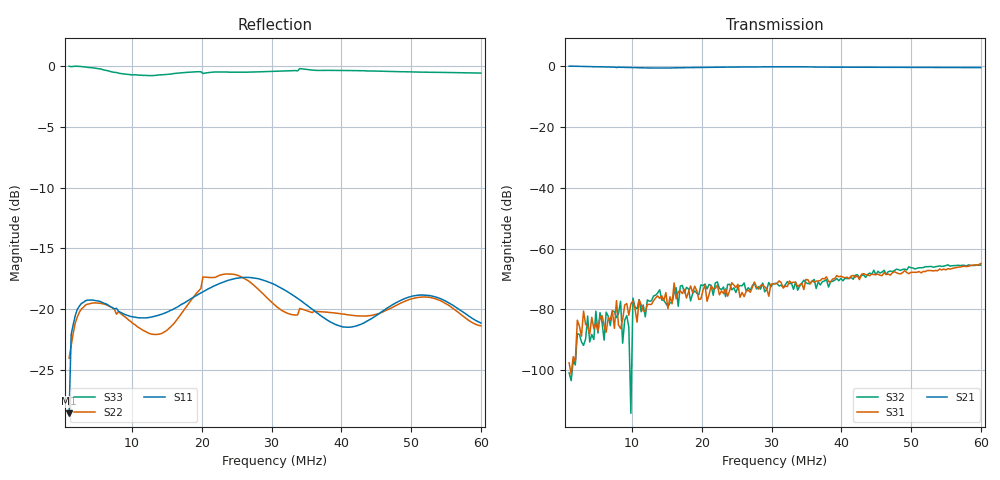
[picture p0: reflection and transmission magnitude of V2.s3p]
#  HZ  S  DB  R  50.00
! Rohde & Schwarz ZVT8 8Ports - Version 4.11 - 1300.0000k08 SN: 100242
! Date: 2024-03-13 13:29:54
! Measurements: S11 S12 S13 S21 S22 S23 S31 S32 S33
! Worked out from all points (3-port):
!   201 points, 1 MHz to 60 MHz, reference 50 ohm
!   strongest paths, dB at 1 MHz, 15.75 MHz, 30.5 MHz, 45.25 MHz, 60 MHz:
!     S21: -0.2, -0.7, -0.4, -0.6, -0.6
!     S31: -97.5, -78.1, -71.6, -68.4, -64.9
!     S32: -100.8, -77.7, -71.4, -67.5, -65.4
!   lowest |S11| = -28.6 dB at 1 MHz (marker M1), VSWR 1.08, Z = 46.7 - j1.39 ohm
!   |S11| at or under -10 dB: start of sweep to end of sweep
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1000000  -28.60 -156.4  -0.05 -12.9  -104.48 84.9
         -0.20 -12.6  -24.05 -164.7  -102.82 51.6
         -97.50 87.9  -100.81 76.1  -0.01 -9.1
7490000  -20.00 31.0  -0.45 -92.3  -86.23 70.1
         -0.50 -91.8  -20.03 -9.3  -91.83 38.5
         -86.17 65.1  -80.63 40.2  -0.52 -68.8
1.516e7  -20.23 -93.9  -0.76 177.9  -76.81 -61.8
         -0.76 178.1  -21.69 172.9  -74.40 -85.0
         -79.76 -70.7  -78.95 -71.4  -0.68 -133.2
1.6045e7  -19.98 -110.7  -0.74 167.6  -73.37 -76.8
          -0.74 167.7  -21.18 149.1  -75.26 -71.8
          -71.30 -71.0  -74.53 -63.3  -0.61 -141.0
2.283e7  -17.85 121.7  -0.45 87.3  -79.67 -147.8
         -0.51 87.2  -17.18 -10.2  -75.65 -171.1
         -73.93 -156.2  -73.52 -166.8  -0.48 156.3
3.05e7  -18.01 -12.2  -0.29 -5.5  -72.27 152.3
        -0.39 -5.5  -19.70 172.8  -73.21 119.6
        -71.61 142.7  -71.44 104.7  -0.42 86.5
3.758e7  -20.77 -146.1  -0.41 -90.7  -68.23 78.3
         -0.49 -90.6  -20.25 -11.7  -71.37 49.4
         -69.95 68.2  -70.66 43.5  -0.35 23.4
4.4955e7  -20.57 57.6  -0.48 -179.7  -66.67 -4.5
          -0.55 -179.6  -20.45 161.7  -67.03 -35.4
          -68.49 -0.1  -68.62 -38.3  -0.41 -42.9
5.2625e7  -18.90 -71.9  -0.54 88.7  -68.12 -80.0
          -0.61 88.7  -19.04 -16.0  -66.38 -129.4
          -67.24 -72.1  -65.91 -124.8  -0.51 -110.9
6e7  -21.16 158.0  -0.57 0.5  -66.07 -145.7
     -0.64 0.6  -21.39 167.3  -66.33 149.4
     -64.88 -146.9  -65.43 148.4  -0.57 -177.6
